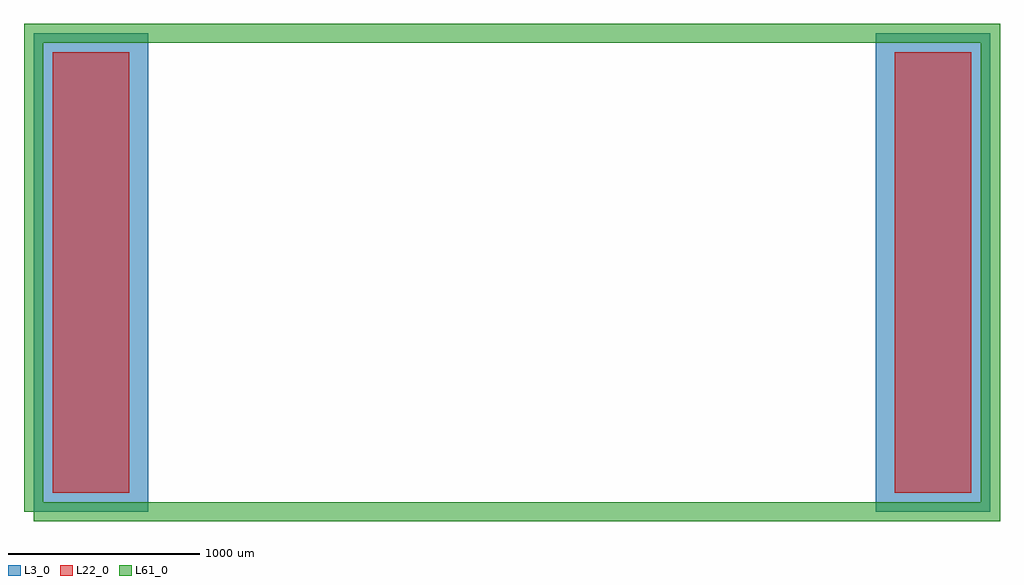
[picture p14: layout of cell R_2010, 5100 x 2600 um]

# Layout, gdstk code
import gdstk
lib = gdstk.Library(unit=1e-6, precision=1e-09)
def R(c, l, rs):  # rectangles x0, y0, x1, y1
    for r in rs: c.add(gdstk.rectangle(r[:2], r[2:], *l))
L3_0 = (3, 0)
L22_0 = (22, 0)
L61_0 = (61, 0)

r_2010 = lib.new_cell('R_2010')
R(r_2010, L3_0, [(-2500,-1250,-1900,1250), (1900,-1250,2500,1250)])
R(r_2010, L22_0, [(-2400,-1150,-2000,1150), (2000,-1150,2400,1150)])
r_2010.add(gdstk.FlexPath([(-2500,-1250),(2500,-1250),(2500,1250),(-2500,1250),(-2500,-1250)], 100, ends="flush", simple_path=True, layer=61, datatype=0))  # L61_0

lib.write_gds('R_2010.gds')
